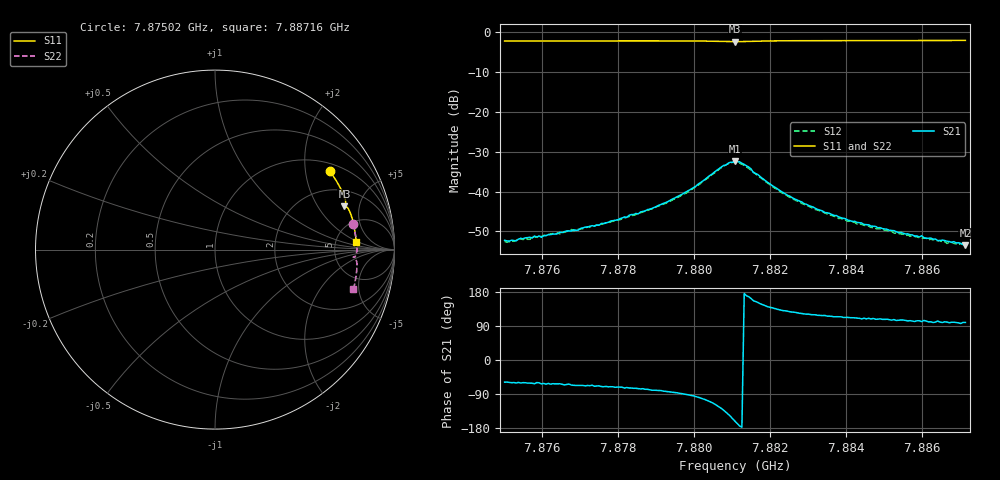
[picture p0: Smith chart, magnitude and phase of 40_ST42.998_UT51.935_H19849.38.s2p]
#  HZ  S  DB  R  50.00
! Rohde & Schwarz Vector Network Analyzer
! Rohde-Schwarz,ZNB20-2Port,1311601062101988,3.16
! Created: UTC 1/12/2023, 6:32:06 PM
! freq[Hz]  db:S11  ang:S11  db:S21  ang:S21  db:S12  ang:S12  db:S22  ang:S22
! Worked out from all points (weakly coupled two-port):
!   201 points, 7.87502 GHz to 7.88716 GHz, reference 50 ohm
!   highest |S21| = -32.33 dB at 7.88109 GHz (marker M1); lowest = -53.4 dB at 7.88716 GHz (marker M2)
!   lowest |S11| = -2.4 dB at 7.88109 GHz (marker M3), VSWR 7.34, Z = 155 + j177 ohm
!   |S11| at or under -10 dB: nowhere
!   |S22| runs from -2.3 to -1.9 dB; largest |S21 - S12| = 0.002
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7.875025e9  -2.23 34.5  -52.24 -58.5  -52.50 -61.3  -2.14 10.5
7.875328e9  -2.22 33.7  -52.39 -60.8  -52.24 -63.8  -2.13 9.7
7.875571e9  -2.21 33.0  -51.62 -60.0  -51.52 -63.0  -2.12 9.1
7.875692e9  -2.21 32.7  -51.48 -60.9  -51.99 -64.9  -2.12 8.9
7.875753e9  -2.21 32.5  -51.65 -61.4  -51.28 -65.5  -2.12 8.7
7.875813e9  -2.21 32.3  -51.18 -62.7  -51.34 -64.8  -2.11 8.6
7.875995e9  -2.21 31.9  -51.48 -63.2  -51.32 -66.3  -2.11 8.2
7.877087e9  -2.19 28.9  -49.12 -67.2  -49.27 -71.7  -2.08 5.6
7.878239e9  -2.18 25.7  -46.49 -72.7  -46.43 -76.8  -2.06 3.0
7.879089e9  -2.17 23.3  -43.42 -80.7  -43.58 -84.2  -2.04 0.9
7.879816e9  -2.18 21.2  -40.01 -90.7  -40.32 -94.2  -2.05 -0.9
7.880787e9  -2.33 18.6  -33.47 -132.3  -33.66 -135.9  -2.20 -3.2
7.88109e9  -2.38 18.5  -32.33 -161.3  -32.66 -164.5  -2.25 -3.1
7.881454e9  -2.30 18.3  -33.87 166.8  -34.21 162.7  -2.17 -3.1
7.881575e9  -2.27 18.0  -35.25 156.4  -35.10 154.3  -2.14 -3.3
7.882485e9  -2.15 15.4  -41.01 128.5  -41.17 124.5  -2.01 -5.5
7.883152e9  -2.13 13.5  -43.92 119.4  -44.31 116.2  -1.97 -7.1
7.884062e9  -2.11 11.1  -47.18 112.4  -47.49 108.1  -1.96 -9.2
7.885154e9  -2.09 8.2  -49.73 106.4  -49.98 103.3  -1.93 -11.6
7.88667e9  -2.08 4.2  -52.47 100.1  -53.04 97.1  -1.92 -14.9
7.887034e9  -2.07 3.3  -53.02 96.4  -53.05 96.7  -1.91 -15.7
7.887155e9  -2.07 2.9  -53.45 99.1  -53.72 95.8  -1.92 -15.9
